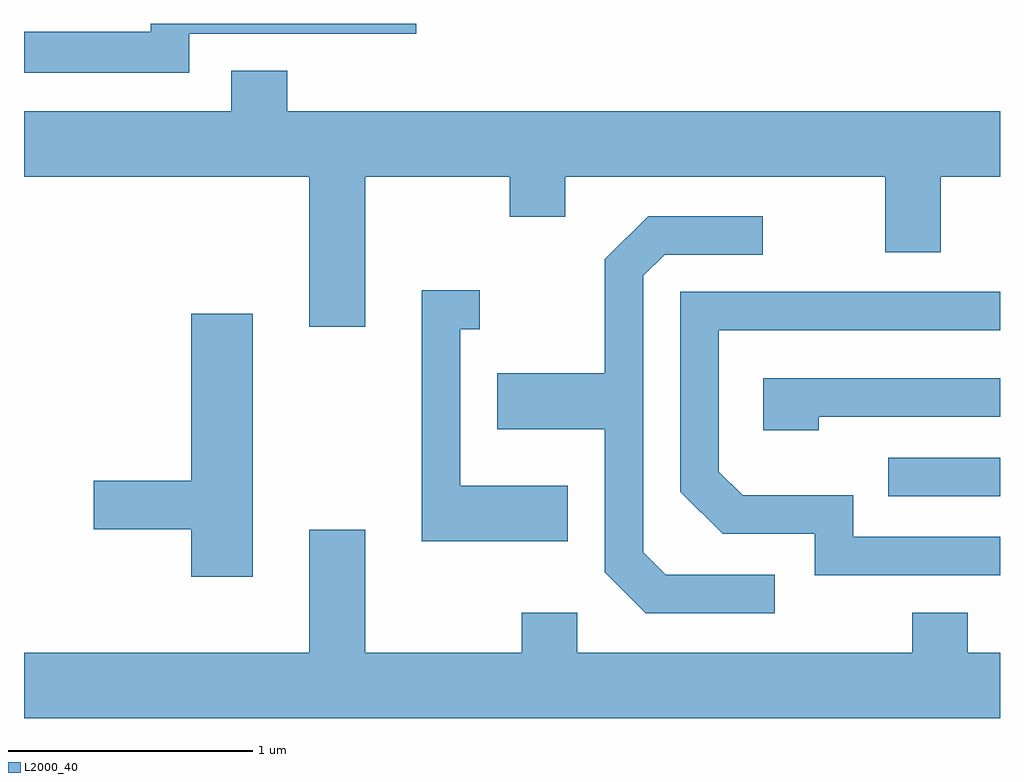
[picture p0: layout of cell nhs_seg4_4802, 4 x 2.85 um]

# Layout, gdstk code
import gdstk
lib = gdstk.Library(unit=1e-6, precision=1e-09)
def R(c, l, rs):  # rectangles x0, y0, x1, y1
    for r in rs: c.add(gdstk.rectangle(r[:2], r[2:], *l))
def P(c, l, *ps):  # polygons
    for p in ps: c.add(gdstk.Polygon(p, *l))
L2000_40 = (2000, 40)

nhs_seg4_4802 = lib.new_cell('nhs_seg4_4802')
R(nhs_seg4_4802, L2000_40, [(329.153,1340.046,329.611,1340.204)])
P(nhs_seg4_4802, L2000_40, [(326.289,1341.941),(327.218,1341.941),(327.218,1341.982),(326.131,1341.982),(326.131,1341.949),(325.611,1341.949),(325.611,1341.781),(326.289,1341.781)],
  [(327.009,1341.356),(327.601,1341.356),(327.601,1341.191),(327.829,1341.191),(327.829,1341.356),(329.141,1341.356),(329.141,1341.046),(329.369,1341.046),(329.369,1341.356),(329.611,1341.356),(329.611,1341.624),(326.689,1341.624),(326.689,1341.789),(326.461,1341.789),(326.461,1341.624),(325.611,1341.624),(325.611,1341.356),(326.781,1341.356),(326.781,1340.741),(327.009,1340.741)],
  [(328.688,1339.724),(328.242,1339.724),(328.149,1339.817),(328.149,1340.949),(328.237,1341.036),(328.638,1341.036),(328.638,1341.194),(328.169,1341.194),(327.991,1341.017),(327.991,1340.549),(327.551,1340.549),(327.551,1340.321),(327.991,1340.321),(327.991,1339.734),(328.159,1339.566),(328.688,1339.566)],
  [(327.839,1340.089),(327.399,1340.089),(327.399,1340.731),(327.478,1340.731),(327.478,1340.889),(327.241,1340.889),(327.241,1339.861),(327.839,1339.861)],
  [(329.611,1339.879),(329.009,1339.879),(329.009,1340.049),(328.557,1340.049),(328.459,1340.147),(328.459,1340.726),(329.611,1340.726),(329.611,1340.884),(328.301,1340.884),(328.301,1340.064),(328.474,1339.891),(328.851,1339.891),(328.851,1339.721),(329.611,1339.721)],
  [(326.549,1340.794),(326.296,1340.794),(326.296,1340.109),(325.896,1340.109),(325.896,1339.911),(326.296,1339.911),(326.296,1339.716),(326.549,1339.716)],
  [(328.869,1340.371),(329.611,1340.371),(329.611,1340.529),(328.641,1340.529),(328.641,1340.316),(328.869,1340.316)],
  [(329.611,1339.404),(329.479,1339.404),(329.479,1339.569),(329.251,1339.569),(329.251,1339.404),(327.879,1339.404),(327.879,1339.569),(327.651,1339.569),(327.651,1339.404),(327.009,1339.404),(327.009,1339.909),(326.781,1339.909),(326.781,1339.404),(325.611,1339.404),(325.611,1339.136),(329.611,1339.136)])

lib.write_gds('nhs_seg4_4802.gds')
